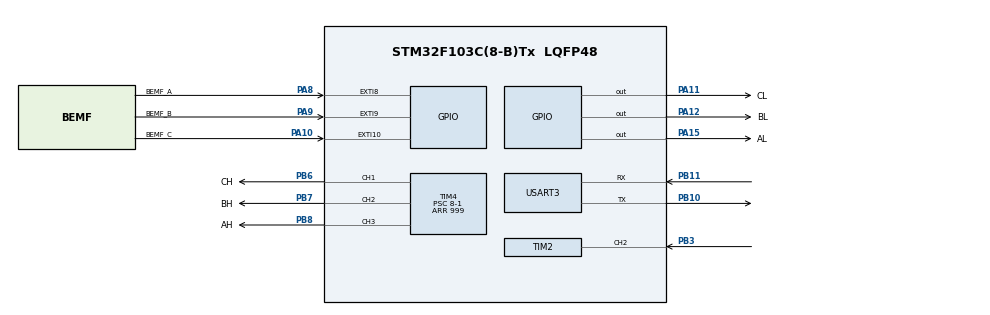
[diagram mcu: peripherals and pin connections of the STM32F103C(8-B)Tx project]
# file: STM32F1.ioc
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Mcu.Family=STM32F1
Mcu.Name=STM32F103C(8-B)Tx
Mcu.Package=LQFP48
NVIC.EXTI15_10_IRQn=true\:0\:0\:false\:false\:true\:true\:true
NVIC.EXTI9_5_IRQn=true\:0\:0\:false\:false\:true\:true\:true
NVIC.PriorityGroup=NVIC_PRIORITYGROUP_4
NVIC.TIM2_IRQn=true\:0\:0\:false\:false\:true\:true\:true
NVIC.USART3_IRQn=true\:0\:0\:false\:false\:true\:true\:true
PA10.GPIO_Label=BEMF_C
PA10.GPIO_ModeDefaultEXTI=GPIO_MODE_IT_RISING_FALLING
PA10.Signal=GPXTI10
PA11.GPIO_Label=CL
PA11.PinState=GPIO_PIN_RESET
PA11.Signal=GPIO_Output
PA12.GPIO_Label=BL
PA12.PinState=GPIO_PIN_RESET
PA12.Signal=GPIO_Output
PA13.Mode=Serial_Wire
PA13.Signal=SYS_JTMS-SWDIO
PA14.Mode=Serial_Wire
PA14.Signal=SYS_JTCK-SWCLK
PA15.GPIO_Label=AL
PA15.PinState=GPIO_PIN_RESET
PA15.Signal=GPIO_Output
PA8.GPIO_Label=BEMF_A
PA8.GPIO_ModeDefaultEXTI=GPIO_MODE_IT_RISING_FALLING
PA8.Signal=GPXTI8
PA9.GPIO_Label=BEMF_B
PA9.GPIO_ModeDefaultEXTI=GPIO_MODE_IT_RISING_FALLING
PA9.Signal=GPXTI9
PB10.Mode=Asynchronous
PB10.Signal=USART3_TX
PB11.Mode=Asynchronous
PB11.Signal=USART3_RX
PB3.Signal=S_TIM2_CH2
PB6.GPIO_Label=CH
PB6.Signal=S_TIM4_CH1
PB7.GPIO_Label=BH
PB7.Signal=S_TIM4_CH2
PB8.GPIO_Label=AH
PB8.Signal=S_TIM4_CH3
ProjectManager.HeapSize=0x200
ProjectManager.StackSize=0x400
ProjectManager.TargetToolchain=MDK-ARM V5
RCC.APB1Freq_Value=8000000
RCC.APB2Freq_Value=8000000
SH.S_TIM2_CH2.0=TIM2_CH2,Input_Capture2_from_TI2
SH.S_TIM4_CH1.0=TIM4_CH1,PWM Generation1 CH1
SH.S_TIM4_CH2.0=TIM4_CH2,PWM Generation2 CH2
SH.S_TIM4_CH3.0=TIM4_CH3,PWM Generation3 CH3
TIM2.Channel-Input_Capture2_from_TI2=TIM_CHANNEL_2
TIM2.Period=9999
TIM2.Prescaler=8 - 1
TIM4.Channel-PWM\ Generation1\ CH1=TIM_CHANNEL_1
TIM4.Channel-PWM\ Generation2\ CH2=TIM_CHANNEL_2
TIM4.Channel-PWM\ Generation3\ CH3=TIM_CHANNEL_3
TIM4.Period=999
TIM4.Prescaler=8-1
USART3.VirtualMode=VM_ASYNC
VP_TIM2_VS_ClockSourceINT.Mode=Internal
VP_TIM4_VS_ClockSourceINT.Mode=Internal
board=custom

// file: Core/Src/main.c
/* USER CODE BEGIN Header */
/**
  ******************************************************************************
  * @file           : main.c
  * @brief          : Main program body
  ******************************************************************************
  * @attention
  *
  * <h2><center>&copy; Copyright (c) 2023 STMicroelectronics.
  * All rights reserved.</center></h2>
  *
  * This software component is licensed by ST under BSD 3-Clause license,
  * the "License"; You may not use this file except in compliance with the
  * License. You may obtain a copy of the License at:
  *                        opensource.org/licenses/BSD-3-Clause
  *
  ******************************************************************************
  */
/* USER CODE END Header */
#include "main.h"

/* USER CODE BEGIN Includes */
#include <string.h>
#include <stdio.h>
/* USER CODE END Includes */

/* USER CODE BEGIN PD */
#define AH TIM_CHANNEL_1
#define BH TIM_CHANNEL_2
#define CH TIM_CHANNEL_3

#define AL GPIO_PIN_11
#define BL GPIO_PIN_12
#define CL GPIO_PIN_15
/* USER CODE END PD */

TIM_HandleTypeDef htim2;
TIM_HandleTypeDef htim4;

UART_HandleTypeDef huart3;

/* USER CODE BEGIN PV */
uint8_t BA, BB, BC, state;
uint8_t run;
uint8_t dir;
uint8_t isStart;
uint8_t dataRx;
uint16_t dutyCycle = 899;
uint32_t ICVal = 0, preICVal = 0, dif;
uint32_t last = 0, cur = 0;
char time[5];
/* USER CODE END PV */

void SystemClock_Config(void);
static void MX_GPIO_Init(void);
static void MX_TIM4_Init(void);
static void MX_USART3_UART_Init(void);
static void MX_TIM2_Init(void);
/* USER CODE BEGIN PFP */
void rotate_cw(void);
void rotate_ccw(void);
void stop(void);
void setDutyCycle(uint32_t dc);
void motorSpeed(void);
void debugWrite(char *s);
/* USER CODE END PFP */

int main(void)
{
  /* USER CODE BEGIN 1 */
	 uint32_t i;
  /* USER CODE END 1 */

  /* MCU Configuration--------------------------------------------------------*/

  /* Reset of all peripherals, Initializes the Flash interface and the Systick. */
  HAL_Init();

  /* Configure the system clock */
  SystemClock_Config();

  /* Initialize all configured peripherals */
  MX_GPIO_Init();
  MX_TIM4_Init();
  MX_USART3_UART_Init();
  MX_TIM2_Init();
  /* USER CODE BEGIN 2 */
	run = 0;
	isStart = 0;
	dir = 0;
	state = 1;

	stop();
	setDutyCycle(dutyCycle);

	HAL_UART_Receive_IT(&huart3, &dataRx, sizeof(dataRx));
	run = 0;

  /* USER CODE END 2 */

  /* Infinite loop */
  /* USER CODE BEGIN WHILE */
  while (1)
		{

		//Quay thuan
		if(run && (dir == 1)){
				i = 200;
				while(i > 1) {
					HAL_Delay(1);
					rotate_cw();
					state++;
					if(state > 6) state = 1;
					i = i - 1;
					motorSpeed();
					}
				isStart = 1;

				while(run){
					rotate_cw();
					motorSpeed();
				}
			}

			// Quay nguoc
		else if(run && (dir == 2)){
				i = 200;
				while(i > 1) {
					HAL_Delay(1);
					rotate_ccw();
					state++;
					if(state > 6) state = 1;
					i = i - 1;
					}
				isStart = 1;

				while(run){
					rotate_ccw();
					motorSpeed();
				}
		}

		if(!run){
			  stop();
			  isStart = 0;
		}
    /* USER CODE END WHILE */

  }
}

void SystemClock_Config(void)
{
  RCC_OscInitTypeDef RCC_OscInitStruct = {0};
  RCC_ClkInitTypeDef RCC_ClkInitStruct = {0};

  /** Initializes the RCC Oscillators according to the specified parameters
  * in the RCC_OscInitTypeDef structure.
  */
  RCC_OscInitStruct.OscillatorType = RCC_OSCILLATORTYPE_HSI;
  RCC_OscInitStruct.HSIState = RCC_HSI_ON;
  RCC_OscInitStruct.HSICalibrationValue = RCC_HSICALIBRATION_DEFAULT;
  RCC_OscInitStruct.PLL.PLLState = RCC_PLL_NONE;
  if (HAL_RCC_OscConfig(&RCC_OscInitStruct) != HAL_OK)
  {
    Error_Handler();
  }
  /** Initializes the CPU, AHB and APB buses clocks
  */
  RCC_ClkInitStruct.ClockType = RCC_CLOCKTYPE_HCLK|RCC_CLOCKTYPE_SYSCLK
                              |RCC_CLOCKTYPE_PCLK1|RCC_CLOCKTYPE_PCLK2;
  RCC_ClkInitStruct.SYSCLKSource = RCC_SYSCLKSOURCE_HSI;
  RCC_ClkInitStruct.AHBCLKDivider = RCC_SYSCLK_DIV1;
  RCC_ClkInitStruct.APB1CLKDivider = RCC_HCLK_DIV1;
  RCC_ClkInitStruct.APB2CLKDivider = RCC_HCLK_DIV1;

  if (HAL_RCC_ClockConfig(&RCC_ClkInitStruct, FLASH_LATENCY_0) != HAL_OK)
  {
    Error_Handler();
  }
}

static void MX_TIM2_Init(void)
{

  TIM_ClockConfigTypeDef sClockSourceConfig = {0};
  TIM_MasterConfigTypeDef sMasterConfig = {0};
  TIM_IC_InitTypeDef sConfigIC = {0};

  htim2.Instance = TIM2;
  htim2.Init.Prescaler = 8 - 1;
  htim2.Init.CounterMode = TIM_COUNTERMODE_UP;
  htim2.Init.Period = 9999;
  htim2.Init.ClockDivision = TIM_CLOCKDIVISION_DIV1;
  htim2.Init.AutoReloadPreload = TIM_AUTORELOAD_PRELOAD_DISABLE;
  if (HAL_TIM_Base_Init(&htim2) != HAL_OK)
  {
    Error_Handler();
  }
  sClockSourceConfig.ClockSource = TIM_CLOCKSOURCE_INTERNAL;
  if (HAL_TIM_ConfigClockSource(&htim2, &sClockSourceConfig) != HAL_OK)
  {
    Error_Handler();
  }
  if (HAL_TIM_IC_Init(&htim2) != HAL_OK)
  {
    Error_Handler();
  }
  sMasterConfig.MasterOutputTrigger = TIM_TRGO_RESET;
  sMasterConfig.MasterSlaveMode = TIM_MASTERSLAVEMODE_DISABLE;
  if (HAL_TIMEx_MasterConfigSynchronization(&htim2, &sMasterConfig) != HAL_OK)
  {
    Error_Handler();
  }
  sConfigIC.ICPolarity = TIM_INPUTCHANNELPOLARITY_RISING;
  sConfigIC.ICSelection = TIM_ICSELECTION_DIRECTTI;
  sConfigIC.ICPrescaler = TIM_ICPSC_DIV1;
  sConfigIC.ICFilter = 0;
  if (HAL_TIM_IC_ConfigChannel(&htim2, &sConfigIC, TIM_CHANNEL_2) != HAL_OK)
  {
    Error_Handler();
  }

}

static void MX_TIM4_Init(void)
{

  TIM_ClockConfigTypeDef sClockSourceConfig = {0};
  TIM_MasterConfigTypeDef sMasterConfig = {0};
  TIM_OC_InitTypeDef sConfigOC = {0};

  htim4.Instance = TIM4;
  htim4.Init.Prescaler = 8-1;
  htim4.Init.CounterMode = TIM_COUNTERMODE_UP;
  htim4.Init.Period = 999;
  htim4.Init.ClockDivision = TIM_CLOCKDIVISION_DIV1;
  htim4.Init.AutoReloadPreload = TIM_AUTORELOAD_PRELOAD_DISABLE;
  if (HAL_TIM_Base_Init(&htim4) != HAL_OK)
  {
    Error_Handler();
  }
  sClockSourceConfig.ClockSource = TIM_CLOCKSOURCE_INTERNAL;
  if (HAL_TIM_ConfigClockSource(&htim4, &sClockSourceConfig) != HAL_OK)
  {
    Error_Handler();
  }
  if (HAL_TIM_PWM_Init(&htim4) != HAL_OK)
  {
    Error_Handler();
  }
  sMasterConfig.MasterOutputTrigger = TIM_TRGO_RESET;
  sMasterConfig.MasterSlaveMode = TIM_MASTERSLAVEMODE_DISABLE;
  if (HAL_TIMEx_MasterConfigSynchronization(&htim4, &sMasterConfig) != HAL_OK)
  {
    Error_Handler();
  }
  sConfigOC.OCMode = TIM_OCMODE_PWM1;
  sConfigOC.Pulse = 0;
  sConfigOC.OCPolarity = TIM_OCPOLARITY_HIGH;
  sConfigOC.OCFastMode = TIM_OCFAST_DISABLE;
  if (HAL_TIM_PWM_ConfigChannel(&htim4, &sConfigOC, TIM_CHANNEL_1) != HAL_OK)
  {
    Error_Handler();
  }
  if (HAL_TIM_PWM_ConfigChannel(&htim4, &sConfigOC, TIM_CHANNEL_2) != HAL_OK)
  {
    Error_Handler();
  }
  if (HAL_TIM_PWM_ConfigChannel(&htim4, &sConfigOC, TIM_CHANNEL_3) != HAL_OK)
  {
    Error_Handler();
  }
  HAL_TIM_MspPostInit(&htim4);

}

static void MX_USART3_UART_Init(void)
{

  huart3.Instance = USART3;
  huart3.Init.BaudRate = 9600;
  huart3.Init.WordLength = UART_WORDLENGTH_8B;
  huart3.Init.StopBits = UART_STOPBITS_1;
  huart3.Init.Parity = UART_PARITY_NONE;
  huart3.Init.Mode = UART_MODE_TX_RX;
  huart3.Init.HwFlowCtl = UART_HWCONTROL_NONE;
  huart3.Init.OverSampling = UART_OVERSAMPLING_16;
  if (HAL_UART_Init(&huart3) != HAL_OK)
  {
    Error_Handler();
  }

}

static void MX_GPIO_Init(void)
{
  GPIO_InitTypeDef GPIO_InitStruct = {0};

  /* GPIO Ports Clock Enable */
  __HAL_RCC_GPIOB_CLK_ENABLE();
  __HAL_RCC_GPIOA_CLK_ENABLE();

  /*Configure GPIO pin Output Level */
  HAL_GPIO_WritePin(GPIOA, CL_Pin|BL_Pin|AL_Pin, GPIO_PIN_RESET);

  /*Configure GPIO pins : BEMF_A_Pin BEMF_B_Pin BEMF_C_Pin */
  GPIO_InitStruct.Pin = BEMF_A_Pin|BEMF_B_Pin|BEMF_C_Pin;
  GPIO_InitStruct.Mode = GPIO_MODE_IT_RISING_FALLING;
  GPIO_InitStruct.Pull = GPIO_NOPULL;
  HAL_GPIO_Init(GPIOA, &GPIO_InitStruct);

  /*Configure GPIO pins : CL_Pin BL_Pin AL_Pin */
  GPIO_InitStruct.Pin = CL_Pin|BL_Pin|AL_Pin;
  GPIO_InitStruct.Mode = GPIO_MODE_OUTPUT_PP;
  GPIO_InitStruct.Pull = GPIO_NOPULL;
  GPIO_InitStruct.Speed = GPIO_SPEED_FREQ_LOW;
  HAL_GPIO_Init(GPIOA, &GPIO_InitStruct);

  /* EXTI interrupt init*/
  HAL_NVIC_SetPriority(EXTI9_5_IRQn, 0, 0);
  HAL_NVIC_EnableIRQ(EXTI9_5_IRQn);

  HAL_NVIC_SetPriority(EXTI15_10_IRQn, 0, 0);
  HAL_NVIC_EnableIRQ(EXTI15_10_IRQn);

}

/* USER CODE BEGIN 4 */

// Ham quay thuan
void rotate_cw(void)
{
	switch(state)
	{
		case 1:
			HAL_TIM_PWM_Stop(&htim4,BH);				//B-
			HAL_GPIO_WritePin(GPIOA,BL,GPIO_PIN_RESET);

			HAL_TIM_PWM_Stop(&htim4,CH);				//C
			HAL_GPIO_WritePin(GPIOA,CL,GPIO_PIN_SET);

			HAL_GPIO_WritePin(GPIOA,AL,GPIO_PIN_SET);
			HAL_TIM_PWM_Start(&htim4,AH);				//A+
			break;

		case 2:
			HAL_TIM_PWM_Stop(&htim4,CH);				//C-
			HAL_GPIO_WritePin(GPIOA,CL,GPIO_PIN_RESET);

			HAL_TIM_PWM_Stop(&htim4,BH);				//B
			HAL_GPIO_WritePin(GPIOA,BL,GPIO_PIN_SET);

			HAL_GPIO_WritePin(GPIOA,AL,GPIO_PIN_SET);
			HAL_TIM_PWM_Start(&htim4,AH);				//A+
			break;

		case 3:
			HAL_TIM_PWM_Stop(&htim4,CH);				//C-
			HAL_GPIO_WritePin(GPIOA,CL,GPIO_PIN_RESET);

			HAL_TIM_PWM_Stop(&htim4,AH);				//A
			HAL_GPIO_WritePin(GPIOA,AL,GPIO_PIN_SET);

			HAL_GPIO_WritePin(GPIOA,BL,GPIO_PIN_SET);
			HAL_TIM_PWM_Start(&htim4,BH);				//B+
			break;

		case 4:
			HAL_TIM_PWM_Stop(&htim4,AH);				//A-
			HAL_GPIO_WritePin(GPIOA,AL,GPIO_PIN_RESET);

			HAL_TIM_PWM_Stop(&htim4,CH);				//C
			HAL_GPIO_WritePin(GPIOA,CL,GPIO_PIN_SET);

			HAL_GPIO_WritePin(GPIOA,BL,GPIO_PIN_SET);
			HAL_TIM_PWM_Start(&htim4,BH);				//B+
			break;

		case 5:
			HAL_TIM_PWM_Stop(&htim4,BH);				//B
			HAL_GPIO_WritePin(GPIOA,BL,GPIO_PIN_SET);

			HAL_GPIO_WritePin(GPIOA,CL,GPIO_PIN_SET);
			HAL_TIM_PWM_Start(&htim4,CH);				//C+

			HAL_TIM_PWM_Stop(&htim4,AH);				//A-
			HAL_GPIO_WritePin(GPIOA,AL,GPIO_PIN_RESET);
			break;

		case 6:
			HAL_TIM_PWM_Stop(&htim4,AH);				//A
			HAL_GPIO_WritePin(GPIOA,AL,GPIO_PIN_SET);

			HAL_TIM_PWM_Stop(&htim4,BH);				//B-
			HAL_GPIO_WritePin(GPIOA,BL,GPIO_PIN_RESET);

			HAL_GPIO_WritePin(GPIOA,CL,GPIO_PIN_SET);
			HAL_TIM_PWM_Start(&htim4,CH);				//C+
			break;

		default:
			HAL_TIM_PWM_Stop(&htim4,AH);				//A
			HAL_GPIO_WritePin(GPIOA,AL,GPIO_PIN_SET);

			HAL_TIM_PWM_Stop(&htim4,BH);				//B
			HAL_GPIO_WritePin(GPIOA,BL,GPIO_PIN_SET);

			HAL_TIM_PWM_Stop(&htim4,CH);				//C
			HAL_GPIO_WritePin(GPIOA,CL,GPIO_PIN_SET);
			break;
	}
}

//Ham quay nguoc
void rotate_ccw(void)
{
	switch(state)
		{
		case 6:
			HAL_TIM_PWM_Stop(&htim4,BH);				//B-
			HAL_GPIO_WritePin(GPIOA,BL,GPIO_PIN_RESET);

			HAL_TIM_PWM_Stop(&htim4,CH);				//C
			HAL_GPIO_WritePin(GPIOA,CL,GPIO_PIN_SET);

			HAL_GPIO_WritePin(GPIOA,AL,GPIO_PIN_SET);
			HAL_TIM_PWM_Start(&htim4,AH);				//A+
			break;

		case 5:
			HAL_TIM_PWM_Stop(&htim4,CH);				//C-
			HAL_GPIO_WritePin(GPIOA,CL,GPIO_PIN_RESET);

			HAL_TIM_PWM_Stop(&htim4,BH);				//B
			HAL_GPIO_WritePin(GPIOA,BL,GPIO_PIN_SET);

			HAL_GPIO_WritePin(GPIOA,AL,GPIO_PIN_SET);
			HAL_TIM_PWM_Start(&htim4,AH);				//A+
			break;

		case 4:
			HAL_TIM_PWM_Stop(&htim4,CH);				//C-
			HAL_GPIO_WritePin(GPIOA,CL,GPIO_PIN_RESET);

			HAL_TIM_PWM_Stop(&htim4,AH);				//A
			HAL_GPIO_WritePin(GPIOA,AL,GPIO_PIN_SET);

			HAL_GPIO_WritePin(GPIOA,BL,GPIO_PIN_SET);
			HAL_TIM_PWM_Start(&htim4,BH);				//B+
			break;

		case 3:
			HAL_TIM_PWM_Stop(&htim4,AH);				//A-
			HAL_GPIO_WritePin(GPIOA,AL,GPIO_PIN_RESET);

			HAL_TIM_PWM_Stop(&htim4,CH);				//C
			HAL_GPIO_WritePin(GPIOA,CL,GPIO_PIN_SET);

			HAL_GPIO_WritePin(GPIOA,BL,GPIO_PIN_SET);
			HAL_TIM_PWM_Start(&htim4,BH);				//B+
			break;

		case 2:
			HAL_TIM_PWM_Stop(&htim4,BH);				//B
			HAL_GPIO_WritePin(GPIOA,BL,GPIO_PIN_SET);

			HAL_GPIO_WritePin(GPIOA,CL,GPIO_PIN_SET);
			HAL_TIM_PWM_Start(&htim4,CH);				//C+

			HAL_TIM_PWM_Stop(&htim4,AH);				//A-
			HAL_GPIO_WritePin(GPIOA,AL,GPIO_PIN_RESET);
			break;

		case 1:
			HAL_TIM_PWM_Stop(&htim4,AH);				//A
			HAL_GPIO_WritePin(GPIOA,AL,GPIO_PIN_SET);

			HAL_TIM_PWM_Stop(&htim4,BH);				//B-
			HAL_GPIO_WritePin(GPIOA,BL,GPIO_PIN_RESET);

			HAL_GPIO_WritePin(GPIOA,CL,GPIO_PIN_SET);
			HAL_TIM_PWM_Start(&htim4,CH);				//C+
			break;

	default:
		HAL_TIM_PWM_Stop(&htim4,AH);				//A
		HAL_GPIO_WritePin(GPIOA,AL,GPIO_PIN_SET);

		HAL_TIM_PWM_Stop(&htim4,BH);				//B
		HAL_GPIO_WritePin(GPIOA,BL,GPIO_PIN_SET);

		HAL_TIM_PWM_Stop(&htim4,CH);				//C
		HAL_GPIO_WritePin(GPIOA,CL,GPIO_PIN_SET);
		break;
		}
}

// Dung dong co
void stop(void){
		HAL_TIM_PWM_Stop(&htim4,AH);				//A
		HAL_GPIO_WritePin(GPIOA,AL,GPIO_PIN_SET);

		HAL_TIM_PWM_Stop(&htim4,BH);				//B
		HAL_GPIO_WritePin(GPIOA,BL,GPIO_PIN_SET);

		HAL_TIM_PWM_Stop(&htim4,CH);				//C
		HAL_GPIO_WritePin(GPIOA,CL,GPIO_PIN_SET);
}

void setDutyCycle(uint32_t dc){
	__HAL_TIM_SET_COMPARE(&htim4, AH, dc);
	__HAL_TIM_SET_COMPARE(&htim4, BH, dc);
	__HAL_TIM_SET_COMPARE(&htim4, CH, dc);
}

// Phan hoi toc do
void motorSpeed(void)
{
	cur = HAL_GetTick();
	if(cur - last > 1000)
	{
		last = cur;
		sprintf(time,"%d", dif);
		HAL_UART_Transmit(&huart3, (uint8_t*)time, strlen(time), HAL_MAX_DELAY);
	}
}

// Xac dinh chuyen mach
void HAL_GPIO_EXTI_Callback(uint16_t GPIO_Pin)
{
	if ((GPIO_Pin == GPIO_PIN_8)||
			(GPIO_Pin == GPIO_PIN_9)||
			(GPIO_Pin == GPIO_PIN_10)){
			if(isStart){
				state ++;
				if(state > 6) state = 1;
		}
	}
}

// Xac dinh thoi gian 1 chu ky
void HAL_TIM_IC_CaptureCallback(TIM_HandleTypeDef *htim){
	if((htim->Channel == HAL_TIM_ACTIVE_CHANNEL_2)){

		ICVal = HAL_TIM_ReadCapturedValue(&htim4, TIM_CHANNEL_3);
		if(ICVal > preICVal){
			dif = ICVal - preICVal;
		}
		if(ICVal < preICVal){
			dif = 0xffff + ICVal - preICVal;
		}
	}
}

void debugWrite(char *s)
{
	  HAL_UART_Transmit(&huart3, (uint8_t*)s, strlen(s), HAL_MAX_DELAY);
}

// Nhan tin hieu dieu khien tu may tinh
void HAL_UART_RxCpltCallback(UART_HandleTypeDef *huart)
{
	 if(huart->Instance == huart3.Instance)
	 {
		 // Dung dong co
	   if(dataRx == '0'){
				run = 0;
				stop();
	   }
		 // Quay thuan
	   else if(dataRx == '1') {
				run = 1;
				dir = 1;
			 	sprintf(time,"%d", 12500);
				HAL_UART_Transmit(&huart3, (uint8_t*)time, strlen(time), HAL_MAX_DELAY);
	   }
		 // Quay nguoc
	   else if(dataRx == '2') {
				run = 1;
				dir = 1;
	   }
		 // Tang toc do
	   else if(dataRx == '3') {
				dutyCycle += 100;
			 	if(dutyCycle > 999) dutyCycle = 999;
				setDutyCycle(dutyCycle);
	   }
		 // Giam toc do
	   else if(dataRx == '4') {
				dutyCycle -= 100;
			 	if(dutyCycle < 0) dutyCycle = 0;
			 	setDutyCycle(dutyCycle);
	   }
	 }
	   HAL_UART_Receive_IT(&huart3, &dataRx, 1);
}
/* USER CODE END 4 */

void Error_Handler(void)
{
}

/************************ (C) COPYRIGHT STMicroelectronics *****END OF FILE****/
